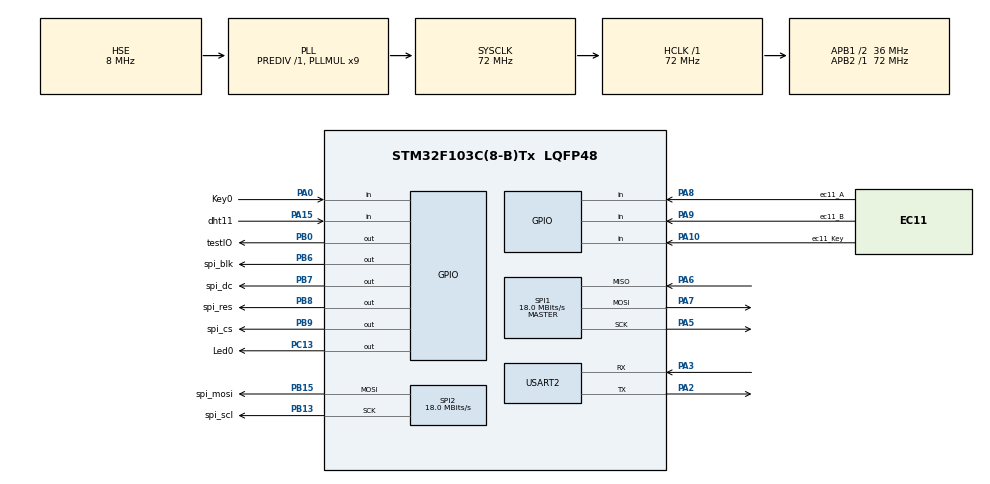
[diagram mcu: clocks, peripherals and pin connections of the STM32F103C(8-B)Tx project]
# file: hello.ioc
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Dma.Request0=SPI2_TX
Dma.Request1=SPI1_TX
Dma.Request2=SPI1_RX
Dma.SPI1_RX.2.Direction=DMA_PERIPH_TO_MEMORY
Dma.SPI1_RX.2.Instance=DMA1_Channel2
Dma.SPI1_RX.2.MemDataAlignment=DMA_MDATAALIGN_BYTE
Dma.SPI1_RX.2.MemInc=DMA_MINC_ENABLE
Dma.SPI1_RX.2.Mode=DMA_NORMAL
Dma.SPI1_RX.2.PeriphDataAlignment=DMA_PDATAALIGN_BYTE
Dma.SPI1_RX.2.PeriphInc=DMA_PINC_DISABLE
Dma.SPI1_RX.2.Priority=DMA_PRIORITY_LOW
Dma.SPI1_TX.1.Direction=DMA_MEMORY_TO_PERIPH
Dma.SPI1_TX.1.Instance=DMA1_Channel3
Dma.SPI1_TX.1.MemDataAlignment=DMA_MDATAALIGN_BYTE
Dma.SPI1_TX.1.MemInc=DMA_MINC_ENABLE
Dma.SPI1_TX.1.Mode=DMA_NORMAL
Dma.SPI1_TX.1.PeriphDataAlignment=DMA_PDATAALIGN_BYTE
Dma.SPI1_TX.1.PeriphInc=DMA_PINC_DISABLE
Dma.SPI1_TX.1.Priority=DMA_PRIORITY_LOW
Dma.SPI2_TX.0.Direction=DMA_MEMORY_TO_PERIPH
Dma.SPI2_TX.0.Instance=DMA1_Channel5
Dma.SPI2_TX.0.MemDataAlignment=DMA_MDATAALIGN_BYTE
Dma.SPI2_TX.0.MemInc=DMA_MINC_ENABLE
Dma.SPI2_TX.0.Mode=DMA_NORMAL
Dma.SPI2_TX.0.PeriphDataAlignment=DMA_PDATAALIGN_BYTE
Dma.SPI2_TX.0.PeriphInc=DMA_PINC_DISABLE
Dma.SPI2_TX.0.Priority=DMA_PRIORITY_LOW
Mcu.Family=STM32F1
Mcu.Name=STM32F103C(8-B)Tx
Mcu.Package=LQFP48
NVIC.DMA1_Channel2_IRQn=true\:0\:0\:false\:false\:true\:false\:true\:true
NVIC.DMA1_Channel3_IRQn=true\:0\:0\:false\:false\:true\:false\:true\:true
NVIC.DMA1_Channel5_IRQn=true\:0\:0\:false\:false\:true\:false\:true\:true
NVIC.PriorityGroup=NVIC_PRIORITYGROUP_4
NVIC.SPI1_IRQn=true\:0\:0\:false\:false\:true\:true\:true\:true
NVIC.SPI2_IRQn=true\:0\:0\:false\:false\:true\:true\:true\:true
NVIC.TIM4_IRQn=true\:0\:0\:false\:false\:true\:true\:true\:true
NVIC.USART2_IRQn=true\:0\:0\:true\:false\:true\:true\:true\:true
PA0-WKUP.GPIO_Label=Key0
PA0-WKUP.GPIO_PuPd=GPIO_PULLDOWN
PA0-WKUP.Signal=GPIO_Input
PA10.GPIO_Label=ec11_Key
PA10.GPIO_PuPd=GPIO_NOPULL
PA10.Signal=GPIO_Input
PA13.Mode=Serial_Wire
PA13.Signal=SYS_JTMS-SWDIO
PA14.Mode=Serial_Wire
PA14.Signal=SYS_JTCK-SWCLK
PA15.GPIO_Label=dht11
PA15.Signal=GPIO_Input
PA2.Mode=Asynchronous
PA2.Signal=USART2_TX
PA3.Mode=Asynchronous
PA3.Signal=USART2_RX
PA5.Mode=Full_Duplex_Master
PA5.Signal=SPI1_SCK
PA6.Mode=Full_Duplex_Master
PA6.Signal=SPI1_MISO
PA7.Mode=Full_Duplex_Master
PA7.Signal=SPI1_MOSI
PA8.GPIO_Label=ec11_A
PA8.GPIO_PuPd=GPIO_PULLUP
PA8.Signal=GPIO_Input
PA9.GPIO_Label=ec11_B
PA9.GPIO_PuPd=GPIO_PULLUP
PA9.Signal=GPIO_Input
PB0.GPIO_Label=testIO
PB0.GPIO_PuPd=GPIO_PULLUP
PB0.Signal=GPIO_Output
PB13.GPIO_Label=spi_scl
PB13.Mode=TX_Only_Simplex_Unidirect_Master
PB13.Signal=SPI2_SCK
PB15.GPIO_Label=spi_mosi
PB15.Mode=TX_Only_Simplex_Unidirect_Master
PB15.Signal=SPI2_MOSI
PB6.GPIO_Label=spi_blk
PB6.GPIO_PuPd=GPIO_PULLUP
PB6.PinState=GPIO_PIN_SET
PB6.Signal=GPIO_Output
PB7.GPIO_Label=spi_dc
PB7.GPIO_PuPd=GPIO_NOPULL
PB7.GPIO_Speed=GPIO_SPEED_FREQ_HIGH
PB7.PinState=GPIO_PIN_SET
PB7.Signal=GPIO_Output
PB8.GPIO_Label=spi_res
PB8.GPIO_PuPd=GPIO_NOPULL
PB8.GPIO_Speed=GPIO_SPEED_FREQ_HIGH
PB8.PinState=GPIO_PIN_SET
PB8.Signal=GPIO_Output
PB9.GPIO_Label=spi_cs
PB9.GPIO_PuPd=GPIO_NOPULL
PB9.GPIO_Speed=GPIO_SPEED_FREQ_HIGH
PB9.PinState=GPIO_PIN_SET
PB9.Signal=GPIO_Output
PC13-TAMPER-RTC.GPIO_Label=Led0
PC13-TAMPER-RTC.Signal=GPIO_Output
PC14-OSC32_IN.Mode=LSE-External-Oscillator
PC14-OSC32_IN.Signal=RCC_OSC32_IN
PC15-OSC32_OUT.Mode=LSE-External-Oscillator
PC15-OSC32_OUT.Signal=RCC_OSC32_OUT
PD0-OSC_IN.Mode=HSE-External-Oscillator
PD0-OSC_IN.Signal=RCC_OSC_IN
PD1-OSC_OUT.Mode=HSE-External-Oscillator
PD1-OSC_OUT.Signal=RCC_OSC_OUT
ProjectManager.HeapSize=0x200
ProjectManager.StackSize=0x400
ProjectManager.TargetToolchain=STM32CubeIDE
RCC.AHBFreq_Value=72000000
RCC.APB1CLKDivider=RCC_HCLK_DIV2
RCC.APB1Freq_Value=36000000
RCC.APB1TimFreq_Value=72000000
RCC.APB2Freq_Value=72000000
RCC.APB2TimFreq_Value=72000000
RCC.HCLKFreq_Value=72000000
RCC.PLLMUL=RCC_PLL_MUL9
RCC.PLLSourceVirtual=RCC_PLLSOURCE_HSE
RCC.SYSCLKFreq_VALUE=72000000
RCC.SYSCLKSource=RCC_SYSCLKSOURCE_PLLCLK
RCC.USBFreq_Value=72000000
SPI1.BaudRatePrescaler=SPI_BAUDRATEPRESCALER_4
SPI1.CalculateBaudRate=18.0 MBits/s
SPI1.Direction=SPI_DIRECTION_2LINES
SPI1.Mode=SPI_MODE_MASTER
SPI1.VirtualType=VM_MASTER
SPI2.BaudRatePrescaler=SPI_BAUDRATEPRESCALER_2
SPI2.CalculateBaudRate=18.0 MBits/s
SPI2.DataSize=SPI_DATASIZE_8BIT
SPI2.Direction=SPI_DIRECTION_2LINES
SPI2.Mode=SPI_MODE_MASTER
SPI2.VirtualType=VM_MASTER
TIM4.AutoReloadPreload=TIM_AUTORELOAD_PRELOAD_ENABLE
TIM4.Period=10 - 1
TIM4.Prescaler=7200 - 1
USART2.VirtualMode=VM_ASYNC
VP_TIM4_VS_ClockSourceINT.Mode=Internal
board=custom

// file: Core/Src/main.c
/* USER CODE BEGIN Header */
/**
 ******************************************************************************
 * @file           : main.c
 * @brief          : ec11按键识别，使用stm32 TIM4，1ms间隔
 ******************************************************************************
 * @attention
 *
 * Copyright (c) 2025 STMicroelectronics.
 * All rights reserved.
 *
 * This software is licensed under terms that can be found in the LICENSE file
 * in the root directory of this software component.
 * If no LICENSE file comes with this software, it is provided AS-IS.
 *
 ******************************************************************************
 */
/* USER CODE END Header */
#include "main.h"

/* USER CODE BEGIN Includes */
#include <stdio.h>
#include "key.h"
#include "ec11.h"
#include "dht11.h"
#include "timer.h"
#include "st7735s.h"
#include "image.h"
#include <string.h>
/* USER CODE END Includes */

SPI_HandleTypeDef hspi1;
SPI_HandleTypeDef hspi2;
DMA_HandleTypeDef hdma_spi1_tx;
DMA_HandleTypeDef hdma_spi1_rx;
DMA_HandleTypeDef hdma_spi2_tx;

TIM_HandleTypeDef htim4;

UART_HandleTypeDef huart2;

/* USER CODE BEGIN PV */
static volatile uint8_t uart_tx_complete = 1; // 初始化为发送完成状态

// 串口发送完成回调函数
void HAL_UART_TxCpltCallback(UART_HandleTypeDef *huart) {
    if (huart == &huart2) {
        uart_tx_complete = 1; // 标记发送完成
    }
}

// 安全的发送函数
void send_data_safely(char *data, uint16_t size) {
    while (!uart_tx_complete); // 等待上一次发送完成
    uart_tx_complete = 0; // 标记开始新的发送
    HAL_UART_Transmit_IT(&huart2, (uint8_t*)data, size);
}

/* USER CODE END PV */

void SystemClock_Config(void);
static void MX_GPIO_Init(void);
static void MX_DMA_Init(void);
static void MX_TIM4_Init(void);
static void MX_USART2_UART_Init(void);
static void MX_SPI2_Init(void);
static void MX_SPI1_Init(void);

/* USER CODE BEGIN 0 */

static uint32_t timerCounter = 0;
void HAL_TIM_PeriodElapsedCallback(TIM_HandleTypeDef *htim) {
	timerCounter++;
	HAL_GPIO_TogglePin(testIO_GPIO_Port, testIO_Pin);
	Ec11StateMachineProcess();
	Dht11Process();
}

void ProcessKey()
{
	static uint32_t lastTick = 0;
	uint32_t currentTick = HAL_GetTick();
	if (currentTick - lastTick < 1) {
		return;
	}
	lastTick = currentTick;

	KeyInfo keyInfo;
	uint8_t remainCount = 0;
	uint8_t ret = 0;
	do {
		GetKeyState(&keyInfo, &remainCount, &ret);
		if (ret != 0) {
			static char message[300];
			sprintf(message,
					"read %s keyState(%s,%d) encodeCounter(%ld) remain count(%d)"
					" timer count(%ld)\n",
					GetKeyName(keyInfo.keyIndex),
					GetKeyEventName(keyInfo.keyState), keyInfo.keyState,
					keyInfo.encodeCounter, remainCount,
					timerCounter);

			send_data_safely(message, strlen(message));

			if (keyInfo.keyIndex == EC11_KEY) {
				if (keyInfo.keyState == EC11_KEY_PRESS) {

				} else if (keyInfo.keyState == EC11_KEY_CLICK) {
					HAL_GPIO_TogglePin(Led0_GPIO_Port, Led0_Pin);
				} else if (keyInfo.keyState == EC11_KEY_DOUBLE_CLICK) {
					HAL_GPIO_TogglePin(testIO_GPIO_Port, testIO_Pin);
					delay_us(20);
					HAL_GPIO_TogglePin(testIO_GPIO_Port, testIO_Pin);
					static char msg[100];
					sprintf(msg, "%s\n", "testxxxx");
					send_data_safely(msg, strlen(msg));
				}
			}
		}

	} while (remainCount != 0);
}

void ProcessDth11()
{
	static uint32_t lastTick = 0;
	uint32_t currentTick = HAL_GetTick();
	if (currentTick - lastTick < 1000) {
		return;
	}
	lastTick = currentTick;

	Dht11Result result;
	GetDht11Result(&result);
	static char message[100];
	sprintf(message, "humidity: %.2f, temperature: %.2f\n",
			result.humidity, result.temperature);
	send_data_safely(message, strlen(message));
}

void ProcessLcd()
{
//	static uint32_t lastTick = 0;
//	uint32_t currentTick = HAL_GetTick();
////	if (currentTick - lastTick < 300) {
////		return;
////	}
//	lastTick = currentTick;

	static uint16_t color = 0x7564;
//	LcdClear(color);
//	LcdDrawPoint(10, 70, WHITE_RGB565);
//	const Rect rect = {{50, 10}, 30, 40};
//	LcdDrawRect(&rect, BLACK_RGB565);
//	LcdDrawBlock(100, 28, 30, 30, 0xF983);
//	LcdDrawLine(0, 0, 3, WHITE_RGB565, LINE_DIR_VERTICAL);
////	LcdDrawLine(10, 30, 25, WHITE_RGB565, LINE_DIR_HORIZONTAL);
//	if (color % 2 == 0) {
//		color += 33;
//	} else {
//		color += 55;
//	}
//
//	const Rect rect2 = {{10, 10}, 20, 20};
//	LcdDrawRect(&rect2, BLACK_RGB565);
//
//	TFT_ShowChar(0, 0, 'A', 0x7564, YELLOW, 16);
//	TFT_ShowChar(0, 16, 'B', BLUE, YELLOW, 16);
//	TFT_ShowChar(0, 32, 'C', BLUE, YELLOW, 16);
//	TFT_ShowChar(0, 48, 'D', BLUE, YELLOW, 16);
//	TFT_ShowChar(0, 64, 'E', BLUE, YELLOW, 16);
//	TFT_ShowChar(0, 80, 'F', BLUE, YELLOW, 16);
//	TFT_ShowChar(0, 96, 'G', BLUE, YELLOW, 16);
//	TFT_ShowChar(0, 112, 'H', BLUE, YELLOW, 16);
//	TFT_ShowChar(0, 128, 'I', BLUE, YELLOW, 16);
//	TFT_ShowChar(0, 144, 'J', BLUE, YELLOW, 16);
//
//	LCD_ShowCharStr(40, 32, 80, "HELLO", YELLOW, BLACK, 16);
//	LCD_ShowCharNumber(48,64,128,20,YELLOW,BLACK,12);
//	LCD_ShowCharNumber(60,64,128,22,YELLOW,BLACK,12);
//
//	TFT_ShowChar(64, 84, 'Y', BLUE, OLIVE, 32);
//
//	for(uint8_t i=32;i<80;i++)
//	{
//	  LcdDrawPoint(i, 128, PURPLE);
//	}

	// 图像rgb565数组使用utils目录下"image2rgb565scale.py 图片文件 宽 高"命令生成，
	// 可以不指定宽或者高，脚本自动按照图片原始的宽高比计算新的值
	static uint16_t xStart = 0;
	LcdDrawData(IMG_DATA, xStart, 0, IMG_WIDTH, IMG_HEIGHT);
	xStart++;
	xStart %= 81;
	HAL_Delay(15);
//	LcdClear(color);
//	color += 100;

//	LcdDrawRgb565(IMG_DATA, 60, 0, IMG_WIDTH, IMG_HEIGHT);

//	HAL_Delay(17);
}
/* USER CODE END 0 */

int main(void)
{

  /* MCU Configuration--------------------------------------------------------*/

  /* Reset of all peripherals, Initializes the Flash interface and the Systick. */
  HAL_Init();

  /* Configure the system clock */
  SystemClock_Config();

  /* Initialize all configured peripherals */
  MX_GPIO_Init();
  MX_DMA_Init();
  MX_TIM4_Init();
  MX_USART2_UART_Init();
  MX_SPI2_Init();
  MX_SPI1_Init();
  /* USER CODE BEGIN 2 */
	HAL_TIM_Base_Start_IT(&htim4);
	Ec11EncoderInit();
	TIM3_Init();
	LcdInit();
//	LcdClear(0x7564);
//		ProcessLcd();
  /* USER CODE END 2 */

  /* Infinite loop */
  /* USER CODE BEGIN WHILE */
	while (1) {
		ProcessKey();
		ProcessDth11();
		ProcessLcd();
    /* USER CODE END WHILE */

    /* USER CODE BEGIN 3 */
//		HAL_Delay(1);
	}
  /* USER CODE END 3 */
}

void SystemClock_Config(void)
{
  RCC_OscInitTypeDef RCC_OscInitStruct = {0};
  RCC_ClkInitTypeDef RCC_ClkInitStruct = {0};

  /** Initializes the RCC Oscillators according to the specified parameters
  * in the RCC_OscInitTypeDef structure.
  */
  RCC_OscInitStruct.OscillatorType = RCC_OSCILLATORTYPE_HSE;
  RCC_OscInitStruct.HSEState = RCC_HSE_ON;
  RCC_OscInitStruct.HSEPredivValue = RCC_HSE_PREDIV_DIV1;
  RCC_OscInitStruct.HSIState = RCC_HSI_ON;
  RCC_OscInitStruct.PLL.PLLState = RCC_PLL_ON;
  RCC_OscInitStruct.PLL.PLLSource = RCC_PLLSOURCE_HSE;
  RCC_OscInitStruct.PLL.PLLMUL = RCC_PLL_MUL9;
  if (HAL_RCC_OscConfig(&RCC_OscInitStruct) != HAL_OK)
  {
    Error_Handler();
  }

  /** Initializes the CPU, AHB and APB buses clocks
  */
  RCC_ClkInitStruct.ClockType = RCC_CLOCKTYPE_HCLK|RCC_CLOCKTYPE_SYSCLK
                              |RCC_CLOCKTYPE_PCLK1|RCC_CLOCKTYPE_PCLK2;
  RCC_ClkInitStruct.SYSCLKSource = RCC_SYSCLKSOURCE_PLLCLK;
  RCC_ClkInitStruct.AHBCLKDivider = RCC_SYSCLK_DIV1;
  RCC_ClkInitStruct.APB1CLKDivider = RCC_HCLK_DIV2;
  RCC_ClkInitStruct.APB2CLKDivider = RCC_HCLK_DIV1;

  if (HAL_RCC_ClockConfig(&RCC_ClkInitStruct, FLASH_LATENCY_2) != HAL_OK)
  {
    Error_Handler();
  }
}

static void MX_SPI1_Init(void)
{

  /* SPI1 parameter configuration*/
  hspi1.Instance = SPI1;
  hspi1.Init.Mode = SPI_MODE_MASTER;
  hspi1.Init.Direction = SPI_DIRECTION_2LINES;
  hspi1.Init.DataSize = SPI_DATASIZE_8BIT;
  hspi1.Init.CLKPolarity = SPI_POLARITY_LOW;
  hspi1.Init.CLKPhase = SPI_PHASE_1EDGE;
  hspi1.Init.NSS = SPI_NSS_SOFT;
  hspi1.Init.BaudRatePrescaler = SPI_BAUDRATEPRESCALER_4;
  hspi1.Init.FirstBit = SPI_FIRSTBIT_MSB;
  hspi1.Init.TIMode = SPI_TIMODE_DISABLE;
  hspi1.Init.CRCCalculation = SPI_CRCCALCULATION_DISABLE;
  hspi1.Init.CRCPolynomial = 10;
  if (HAL_SPI_Init(&hspi1) != HAL_OK)
  {
    Error_Handler();
  }

}

static void MX_SPI2_Init(void)
{

  /* SPI2 parameter configuration*/
  hspi2.Instance = SPI2;
  hspi2.Init.Mode = SPI_MODE_MASTER;
  hspi2.Init.Direction = SPI_DIRECTION_2LINES;
  hspi2.Init.DataSize = SPI_DATASIZE_8BIT;
  hspi2.Init.CLKPolarity = SPI_POLARITY_LOW;
  hspi2.Init.CLKPhase = SPI_PHASE_1EDGE;
  hspi2.Init.NSS = SPI_NSS_SOFT;
  hspi2.Init.BaudRatePrescaler = SPI_BAUDRATEPRESCALER_2;
  hspi2.Init.FirstBit = SPI_FIRSTBIT_MSB;
  hspi2.Init.TIMode = SPI_TIMODE_DISABLE;
  hspi2.Init.CRCCalculation = SPI_CRCCALCULATION_DISABLE;
  hspi2.Init.CRCPolynomial = 10;
  if (HAL_SPI_Init(&hspi2) != HAL_OK)
  {
    Error_Handler();
  }

}

static void MX_TIM4_Init(void)
{

  TIM_ClockConfigTypeDef sClockSourceConfig = {0};
  TIM_MasterConfigTypeDef sMasterConfig = {0};

  htim4.Instance = TIM4;
  htim4.Init.Prescaler = 7200 - 1;
  htim4.Init.CounterMode = TIM_COUNTERMODE_UP;
  htim4.Init.Period = 10 - 1;
  htim4.Init.ClockDivision = TIM_CLOCKDIVISION_DIV1;
  htim4.Init.AutoReloadPreload = TIM_AUTORELOAD_PRELOAD_ENABLE;
  if (HAL_TIM_Base_Init(&htim4) != HAL_OK)
  {
    Error_Handler();
  }
  sClockSourceConfig.ClockSource = TIM_CLOCKSOURCE_INTERNAL;
  if (HAL_TIM_ConfigClockSource(&htim4, &sClockSourceConfig) != HAL_OK)
  {
    Error_Handler();
  }
  sMasterConfig.MasterOutputTrigger = TIM_TRGO_RESET;
  sMasterConfig.MasterSlaveMode = TIM_MASTERSLAVEMODE_DISABLE;
  if (HAL_TIMEx_MasterConfigSynchronization(&htim4, &sMasterConfig) != HAL_OK)
  {
    Error_Handler();
  }

}

static void MX_USART2_UART_Init(void)
{

  huart2.Instance = USART2;
  huart2.Init.BaudRate = 115200;
  huart2.Init.WordLength = UART_WORDLENGTH_8B;
  huart2.Init.StopBits = UART_STOPBITS_1;
  huart2.Init.Parity = UART_PARITY_NONE;
  huart2.Init.Mode = UART_MODE_TX_RX;
  huart2.Init.HwFlowCtl = UART_HWCONTROL_NONE;
  huart2.Init.OverSampling = UART_OVERSAMPLING_16;
  if (HAL_UART_Init(&huart2) != HAL_OK)
  {
    Error_Handler();
  }

}

static void MX_DMA_Init(void)
{

  /* DMA controller clock enable */
  __HAL_RCC_DMA1_CLK_ENABLE();

  /* DMA interrupt init */
  /* DMA1_Channel2_IRQn interrupt configuration */
  HAL_NVIC_SetPriority(DMA1_Channel2_IRQn, 0, 0);
  HAL_NVIC_EnableIRQ(DMA1_Channel2_IRQn);
  /* DMA1_Channel3_IRQn interrupt configuration */
  HAL_NVIC_SetPriority(DMA1_Channel3_IRQn, 0, 0);
  HAL_NVIC_EnableIRQ(DMA1_Channel3_IRQn);
  /* DMA1_Channel5_IRQn interrupt configuration */
  HAL_NVIC_SetPriority(DMA1_Channel5_IRQn, 0, 0);
  HAL_NVIC_EnableIRQ(DMA1_Channel5_IRQn);

}

static void MX_GPIO_Init(void)
{
  GPIO_InitTypeDef GPIO_InitStruct = {0};

  /* GPIO Ports Clock Enable */
  __HAL_RCC_GPIOC_CLK_ENABLE();
  __HAL_RCC_GPIOD_CLK_ENABLE();
  __HAL_RCC_GPIOA_CLK_ENABLE();
  __HAL_RCC_GPIOB_CLK_ENABLE();

  /*Configure GPIO pin Output Level */
  HAL_GPIO_WritePin(Led0_GPIO_Port, Led0_Pin, GPIO_PIN_RESET);

  /*Configure GPIO pin Output Level */
  HAL_GPIO_WritePin(testIO_GPIO_Port, testIO_Pin, GPIO_PIN_RESET);

  /*Configure GPIO pin Output Level */
  HAL_GPIO_WritePin(GPIOB, spi_blk_Pin|spi_dc_Pin|spi_res_Pin|spi_cs_Pin, GPIO_PIN_SET);

  /*Configure GPIO pin : Led0_Pin */
  GPIO_InitStruct.Pin = Led0_Pin;
  GPIO_InitStruct.Mode = GPIO_MODE_OUTPUT_PP;
  GPIO_InitStruct.Pull = GPIO_NOPULL;
  GPIO_InitStruct.Speed = GPIO_SPEED_FREQ_LOW;
  HAL_GPIO_Init(Led0_GPIO_Port, &GPIO_InitStruct);

  /*Configure GPIO pin : Key0_Pin */
  GPIO_InitStruct.Pin = Key0_Pin;
  GPIO_InitStruct.Mode = GPIO_MODE_INPUT;
  GPIO_InitStruct.Pull = GPIO_PULLDOWN;
  HAL_GPIO_Init(Key0_GPIO_Port, &GPIO_InitStruct);

  /*Configure GPIO pins : testIO_Pin spi_blk_Pin */
  GPIO_InitStruct.Pin = testIO_Pin|spi_blk_Pin;
  GPIO_InitStruct.Mode = GPIO_MODE_OUTPUT_PP;
  GPIO_InitStruct.Pull = GPIO_PULLUP;
  GPIO_InitStruct.Speed = GPIO_SPEED_FREQ_LOW;
  HAL_GPIO_Init(GPIOB, &GPIO_InitStruct);

  /*Configure GPIO pins : ec11_A_Pin ec11_B_Pin */
  GPIO_InitStruct.Pin = ec11_A_Pin|ec11_B_Pin;
  GPIO_InitStruct.Mode = GPIO_MODE_INPUT;
  GPIO_InitStruct.Pull = GPIO_PULLUP;
  HAL_GPIO_Init(GPIOA, &GPIO_InitStruct);

  /*Configure GPIO pins : ec11_Key_Pin dht11_Pin */
  GPIO_InitStruct.Pin = ec11_Key_Pin|dht11_Pin;
  GPIO_InitStruct.Mode = GPIO_MODE_INPUT;
  GPIO_InitStruct.Pull = GPIO_NOPULL;
  HAL_GPIO_Init(GPIOA, &GPIO_InitStruct);

  /*Configure GPIO pins : spi_dc_Pin spi_res_Pin spi_cs_Pin */
  GPIO_InitStruct.Pin = spi_dc_Pin|spi_res_Pin|spi_cs_Pin;
  GPIO_InitStruct.Mode = GPIO_MODE_OUTPUT_PP;
  GPIO_InitStruct.Pull = GPIO_NOPULL;
  GPIO_InitStruct.Speed = GPIO_SPEED_FREQ_HIGH;
  HAL_GPIO_Init(GPIOB, &GPIO_InitStruct);

}

void Error_Handler(void)
{
	__disable_irq();
	while (1) {
	}
}
